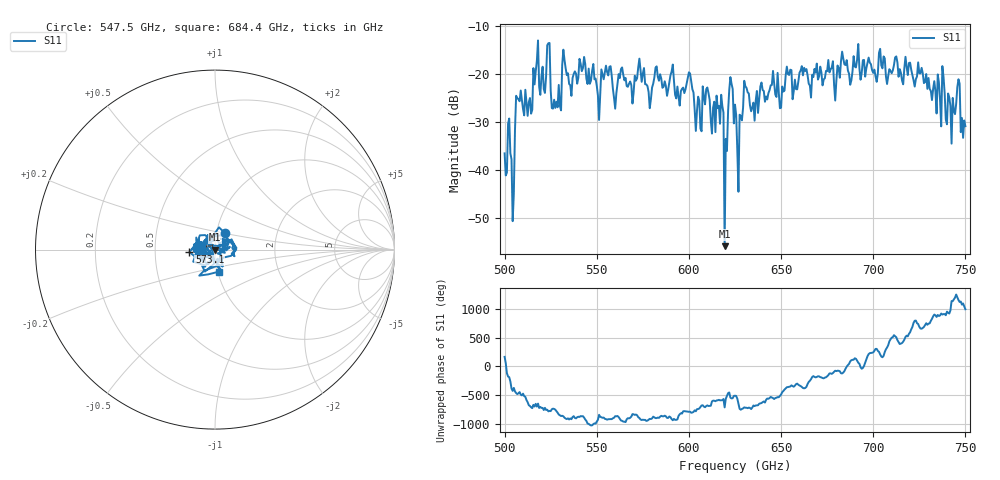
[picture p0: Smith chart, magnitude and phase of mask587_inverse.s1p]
!Created with skrf (http://scikit-rf.org).
# GHz S MA R 50.0
!freq magS11 angS11
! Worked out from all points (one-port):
!   401 points, 500 GHz to 750 GHz, reference 50 ohm
!   lowest |S11| = -55.9 dB at 619.4 GHz (marker M1), VSWR 1.00, Z = 50.2 + j0.0274 ohm
!   |S11| at or under -10 dB: start of sweep to end of sweep
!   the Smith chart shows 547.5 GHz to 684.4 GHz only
!   S11 on the Smith chart (normalised r, x): 547.5 GHz: 1.10, +0.21; 573.1 GHz: 0.75, -0.02; 684.4 GHz: 1.01, -0.25
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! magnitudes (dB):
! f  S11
! 500 GHz  -36.6
! 502.5 GHz  -29.3
! 504.4 GHz  -50.7
! 507.5 GHz  -25.3
! 513.8 GHz  -25.1
! 516.9 GHz  -19.6
! 520.6 GHz  -18.6
! 523.8 GHz  -13.7
! 526.9 GHz  -25.4
! 531.2 GHz  -18.2
! 547.5 GHz  -19.4
! 562.5 GHz  -20.9
! 573.1 GHz  -16.9
! 593.8 GHz  -22.7
! 616.2 GHz  -26.7
! 619.4 GHz  -55.9
! 622.5 GHz  -20.7
! 625 GHz  -26.5
! 627.5 GHz  -28.6
! 631.2 GHz  -23.0
! 634.4 GHz  -27.0
! 656.2 GHz  -25.3
! 684.4 GHz  -18.1
! 687.5 GHz  -22.3
! 718.8 GHz  -20.3
! 741.2 GHz  -24.9
! 745.6 GHz  -22.8
! 750 GHz  -30.9
